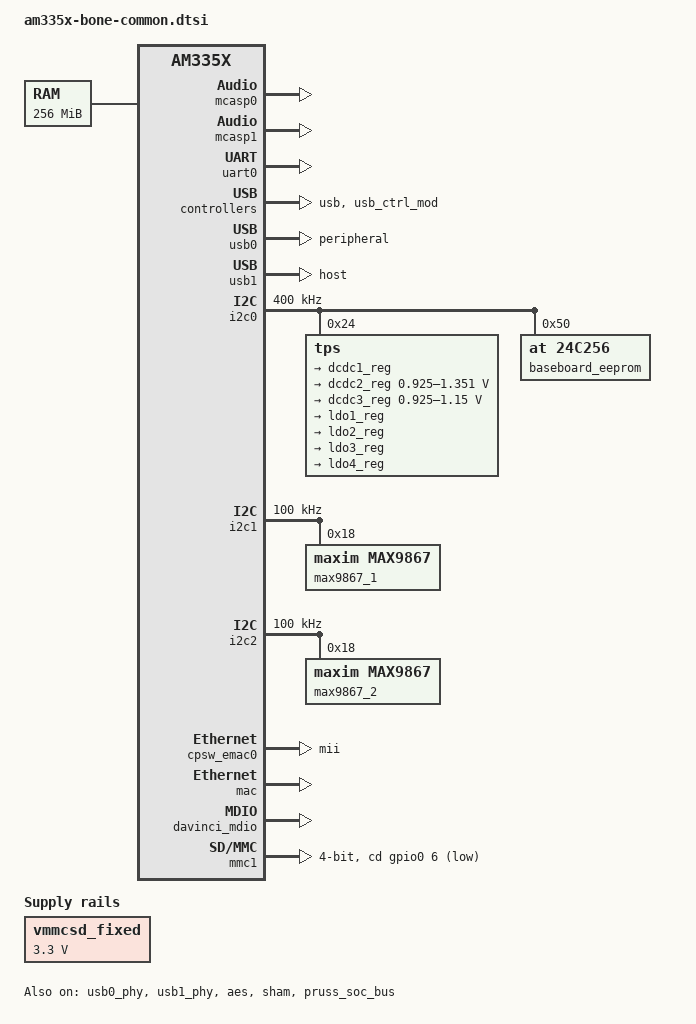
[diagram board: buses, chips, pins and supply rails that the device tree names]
/*
 * Copyright (C) 2012 Texas Instruments Incorporated - http://www.ti.com/
 *
 * This program is free software; you can redistribute it and/or modify
 * it under the terms of the GNU General Public License version 2 as
 * published by the Free Software Foundation.
 */

/ {
        cpus {
                cpu@0 {
                        cpu0-supply = <&dcdc2_reg>;
                };
        };

        memory@80000000 {
                device_type = "memory";
                reg = <0x80000000 0x10000000>; /* 256 MB */
        };

        chosen {
                stdout-path = &uart0;
        };

        //leds {
        //        pinctrl-names = "default";
        //        pinctrl-0 = <&user_leds_s0>;
        //
        //        compatible = "gpio-leds";
        //
        //        led2 { //USR0
        //                label = "beaglebone:green:heartbeat";
        //                gpios = <&gpio1 21 GPIO_ACTIVE_HIGH>;
        //                linux,default-trigger = "heartbeat";
        //                default-state = "off";
        //        };
        //
        //        led3 { //USR1
        //                label = "beaglebone:green:mmc0";
        //                gpios = <&gpio1 22 GPIO_ACTIVE_HIGH>;
        //                linux,default-trigger = "mmc0";
        //                default-state = "off";
        //        };
        //
        //        led4 { //USR2
        //                label = "beaglebone:green:usr2";
        //                gpios = <&gpio1 23 GPIO_ACTIVE_HIGH>;
        //                linux,default-trigger = "cpu0";
        //                default-state = "off";
        //        };
        //
        //        led5 { //USR3
        //                label = "beaglebone:green:usr3";
        //                gpios = <&gpio1 24 GPIO_ACTIVE_HIGH>;
        //                linux,default-trigger = "mmc1";
        //                default-state = "off";
        //        };
        //}; /* leds */

        vmmcsd_fixed: fixedregulator0 {
                compatible              = "regulator-fixed";
                regulator-name          = "vmmcsd_fixed";
                regulator-min-microvolt = <3300000>;
                regulator-max-microvolt = <3300000>;
        };
};

&am33xx_pinmux {
        pinctrl-names = "default";
        pinctrl-0 = <&clkout2_pin>;
        clkout2_pin: pinmux_clkout2_pin {
                pinctrl-single,pins = <
                        AM33XX_IOPAD(0x9b4, PIN_OUTPUT_PULLDOWN | MUX_MODE3)    /* xdma_event_intr1.clkout2 */
                >;
        };

        //user_leds_s0: user_leds_s0 {
        //        pinctrl-single,pins = <
        //                AM33XX_IOPAD(0x854, PIN_OUTPUT_PULLDOWN | MUX_MODE7)    /* gpmc_a5.gpio1_21 */
        //                AM33XX_IOPAD(0x858, PIN_OUTPUT_PULLUP | MUX_MODE7)      /* gpmc_a6.gpio1_22 */
        //                AM33XX_IOPAD(0x85c, PIN_OUTPUT_PULLDOWN | MUX_MODE7)    /* gpmc_a7.gpio1_23 */
        //                AM33XX_IOPAD(0x860, PIN_OUTPUT_PULLUP | MUX_MODE7)      /* gpmc_a8.gpio1_24 */
        //        >;
        //};
        
        
/* ---------------------------------------------------------------------------------------------- */
        i2c0_pins: pinmux_i2c0_pins {
                pinctrl-single,pins = <
                        AM33XX_IOPAD(0x988, PIN_INPUT_PULLUP | MUX_MODE0)       /* conf_i2c0_sda.i2c0_sda */
                        AM33XX_IOPAD(0x98c, PIN_INPUT_PULLUP | MUX_MODE0)       /* conf_i2c0_scl.i2c0_scl */
                >;
        }; /* i2c0_pins */
        
        i2c1_pins: pinmux_i2c1_pins {
                pinctrl-single,pins = <
                        AM33XX_IOPAD(0x958, PIN_INPUT_PULLUP | MUX_MODE2)       /* conf_spi0_d1.i2c1_sda */
                        AM33XX_IOPAD(0x95c, PIN_INPUT_PULLUP | MUX_MODE2)       /* conf_spi0_cs0.i2c1_scl */
                >;
        }; /* i2c1_pins */
        
        i2c2_pins: pinmux_i2c2_pins {
                pinctrl-single,pins = <
                        AM33XX_IOPAD(0x978, PIN_INPUT_PULLUP | MUX_MODE3)       /* conf_uart1_ctsn.i2c2_sda */
                        AM33XX_IOPAD(0x97C, PIN_INPUT_PULLUP | MUX_MODE3)       /* conf_uart1_rtsn.i2c2_scl */
                >;
        }; /* i2c2_pins */
/* ---------------------------------------------------------------------------------------------- */
        uart0_pins: pinmux_uart0_pins {
                pinctrl-single,pins = <
                        AM33XX_IOPAD(0x970, PIN_INPUT_PULLUP | MUX_MODE0)       /* uart0_rxd.uart0_rxd */
                        AM33XX_IOPAD(0x974, PIN_OUTPUT_PULLDOWN | MUX_MODE0)    /* uart0_txd.uart0_txd */
                >;
        }; 



        cpsw_default: cpsw_default {
                pinctrl-single,pins = <
                        /* Slave 1 */
                        AM33XX_IOPAD(0x910, PIN_INPUT_PULLUP | MUX_MODE0)       /* mii1_rxerr.mii1_rxerr */
                        AM33XX_IOPAD(0x914, PIN_OUTPUT_PULLDOWN | MUX_MODE0)    /* mii1_txen.mii1_txen */
                        AM33XX_IOPAD(0x918, PIN_INPUT_PULLUP | MUX_MODE0)       /* mii1_rxdv.mii1_rxdv */
                        AM33XX_IOPAD(0x91c, PIN_OUTPUT_PULLDOWN | MUX_MODE0)    /* mii1_txd3.mii1_txd3 */
                        AM33XX_IOPAD(0x920, PIN_OUTPUT_PULLDOWN | MUX_MODE0)    /* mii1_txd2.mii1_txd2 */
                        AM33XX_IOPAD(0x924, PIN_OUTPUT_PULLDOWN | MUX_MODE0)    /* mii1_txd1.mii1_txd1 */
                        AM33XX_IOPAD(0x928, PIN_OUTPUT_PULLDOWN | MUX_MODE0)    /* mii1_txd0.mii1_txd0 */
                        AM33XX_IOPAD(0x92c, PIN_INPUT_PULLUP | MUX_MODE0)       /* mii1_txclk.mii1_txclk */
                        AM33XX_IOPAD(0x930, PIN_INPUT_PULLUP | MUX_MODE0)       /* mii1_rxclk.mii1_rxclk */
                        AM33XX_IOPAD(0x934, PIN_INPUT_PULLUP | MUX_MODE0)       /* mii1_rxd3.mii1_rxd3 */
                        AM33XX_IOPAD(0x938, PIN_INPUT_PULLUP | MUX_MODE0)       /* mii1_rxd2.mii1_rxd2 */
                        AM33XX_IOPAD(0x93c, PIN_INPUT_PULLUP | MUX_MODE0)       /* mii1_rxd1.mii1_rxd1 */
                        AM33XX_IOPAD(0x940, PIN_INPUT_PULLUP | MUX_MODE0)       /* mii1_rxd0.mii1_rxd0 */
                >;
        };

        cpsw_sleep: cpsw_sleep {
                pinctrl-single,pins = <
                        /* Slave 1 reset value */
                        AM33XX_IOPAD(0x910, PIN_INPUT_PULLDOWN | MUX_MODE7)
                        AM33XX_IOPAD(0x914, PIN_INPUT_PULLDOWN | MUX_MODE7)
                        AM33XX_IOPAD(0x918, PIN_INPUT_PULLDOWN | MUX_MODE7)
                        AM33XX_IOPAD(0x91c, PIN_INPUT_PULLDOWN | MUX_MODE7)
                        AM33XX_IOPAD(0x920, PIN_INPUT_PULLDOWN | MUX_MODE7)
                        AM33XX_IOPAD(0x924, PIN_INPUT_PULLDOWN | MUX_MODE7)
                        AM33XX_IOPAD(0x928, PIN_INPUT_PULLDOWN | MUX_MODE7)
                        AM33XX_IOPAD(0x92c, PIN_INPUT_PULLDOWN | MUX_MODE7)
                        AM33XX_IOPAD(0x930, PIN_INPUT_PULLDOWN | MUX_MODE7)
                        AM33XX_IOPAD(0x934, PIN_INPUT_PULLDOWN | MUX_MODE7)
                        AM33XX_IOPAD(0x938, PIN_INPUT_PULLDOWN | MUX_MODE7)
                        AM33XX_IOPAD(0x93c, PIN_INPUT_PULLDOWN | MUX_MODE7)
                        AM33XX_IOPAD(0x940, PIN_INPUT_PULLDOWN | MUX_MODE7)
                >;
        };

        davinci_mdio_default: davinci_mdio_default {
                pinctrl-single,pins = <
                        /* MDIO */
                        AM33XX_IOPAD(0x948, PIN_INPUT_PULLUP | SLEWCTRL_FAST | MUX_MODE0)       /* mdio_data.mdio_data */
                        AM33XX_IOPAD(0x94c, PIN_OUTPUT_PULLUP | MUX_MODE0)                      /* mdio_clk.mdio_clk */
                >;
        };

        davinci_mdio_sleep: davinci_mdio_sleep {
                pinctrl-single,pins = <
                        /* MDIO reset value */
                        AM33XX_IOPAD(0x948, PIN_INPUT_PULLDOWN | MUX_MODE7)
                        AM33XX_IOPAD(0x94c, PIN_INPUT_PULLDOWN | MUX_MODE7)
                >;
        };

        mmc1_pins: pinmux_mmc1_pins {
                pinctrl-single,pins = <
                        AM33XX_IOPAD(0x960, PIN_INPUT | MUX_MODE7) /* GPIO0_6 */
                >;
        };

        emmc_pins: pinmux_emmc_pins {
                pinctrl-single,pins = <
                        AM33XX_IOPAD(0x880, PIN_INPUT_PULLUP | MUX_MODE2) /* gpmc_csn1.mmc1_clk */
                        AM33XX_IOPAD(0x884, PIN_INPUT_PULLUP | MUX_MODE2) /* gpmc_csn2.mmc1_cmd */
                        AM33XX_IOPAD(0x800, PIN_INPUT_PULLUP | MUX_MODE1) /* gpmc_ad0.mmc1_dat0 */
                        AM33XX_IOPAD(0x804, PIN_INPUT_PULLUP | MUX_MODE1) /* gpmc_ad1.mmc1_dat1 */
                        AM33XX_IOPAD(0x808, PIN_INPUT_PULLUP | MUX_MODE1) /* gpmc_ad2.mmc1_dat2 */
                        AM33XX_IOPAD(0x80c, PIN_INPUT_PULLUP | MUX_MODE1) /* gpmc_ad3.mmc1_dat3 */
                        AM33XX_IOPAD(0x810, PIN_INPUT_PULLUP | MUX_MODE1) /* gpmc_ad4.mmc1_dat4 */
                        AM33XX_IOPAD(0x814, PIN_INPUT_PULLUP | MUX_MODE1) /* gpmc_ad5.mmc1_dat5 */
                        AM33XX_IOPAD(0x818, PIN_INPUT_PULLUP | MUX_MODE1) /* gpmc_ad6.mmc1_dat6 */
                        AM33XX_IOPAD(0x81c, PIN_INPUT_PULLUP | MUX_MODE1) /* gpmc_ad7.mmc1_dat7 */
                >;
        };
        /*-------*/
        /* McASP */
        /*-------*/
        mcasp0_pins_default: mcasp0_pins_default {
                pinctrl-single,pins = <
                        AM33XX_IOPAD(0x8c0, PIN_INPUT | MUX_MODE3) /* (U1) lcd_data8    .mcasp0_aclkx  */
                        AM33XX_IOPAD(0x8c4, PIN_INPUT | MUX_MODE3) /* (U2) lcd_data9    .mcasp0_fsx    */
                        AM33XX_IOPAD(0x8c8, PIN_INPUT | MUX_MODE3) /* (U3) lcd_data10   .mcasp0_axr0   */
                        AM33XX_IOPAD(0x8d8, PIN_INPUT | MUX_MODE3) /* (V4) lcd_data14   .mcasp0_axr1   */
                >;
        }; /* mcasp0_pins_default */
        mcasp1_pins_default: mcasp1_pins_default {
                pinctrl-single,pins = <
                        AM33XX_IOPAD(0x9a0, PIN_INPUT | MUX_MODE3) /* (B12) mcasp0_aclkr    .mcasp1_aclkx  */
                        AM33XX_IOPAD(0x9a4, PIN_INPUT | MUX_MODE3) /* (C13) mcasp0_fsr      .mcasp1_fsx    */
                        AM33XX_IOPAD(0x9a8, PIN_INPUT | MUX_MODE3) /* (D13) mcasp0_axr1     .mcasp1_axr0   */
                        AM33XX_IOPAD(0x9ac, PIN_INPUT | MUX_MODE3) /* (A14) mcasp0_ahclkx   .mcasp0_axr1   */
                >;
        }; /* mcasp0_pins_default */
        
}; /* am33xx_pinmux */

&mcasp0 {
        clocks = <&mcasp0_fck>;
        clock-names = "mcasp0_fck";
        pinctrl-names = "default";
        pinctrl-0 = <&mcasp0_pins_default>;
        status = "okay";        
};
&mcasp1 {
        clocks = <&mcasp1_fck>;
        clock-names = "mcasp1_fck";
        pinctrl-names = "default";
        pinctrl-0 = <&mcasp1_pins_default>;
        status = "okay";
};

&uart0 {
        pinctrl-names = "default";
        pinctrl-0 = <&uart0_pins>;
        status = "okay";
};

&usb 
{
        status = "okay";
};
&usb_ctrl_mod 
{
        status = "okay";
};

&usb0_phy 
{
        status = "okay";
};
&usb1_phy 
{
        status = "okay";
};
&usb0 
{
        status = "okay";
        dr_mode = "peripheral";
};
&usb1 
{
        status = "okay";
        dr_mode = "host";
};

&cppi41dma  
{
        status = "okay";
};

&i2c0 {
    status = "okay";
    pinctrl-names = "default";
    pinctrl-0 = <&i2c0_pins>;
    clock-frequency = <400000>;
    tps: tps@24 {
            reg = <0x24>;
    };
    baseboard_eeprom: baseboard_eeprom@50 {
            compatible = "at,24c256";
            reg = <0x50>;
            #address-cells = <1>;
            #size-cells = <1>;
            baseboard_data: baseboard_data@0 {
                    reg = <0 0x100>;
            };
    }; /* baseboard_eeprom */
}; /* i2c0 */

&i2c1 {
    status = "okay";
    pinctrl-names = "default";
    pinctrl-0 = <&i2c1_pins>;
    clock-frequency = <100000>;
    max9867_1: max9867@18 {
        compatible = "maxim,max9867";
        reg = <0x18>;
    };
}; /* i2c1 */

&i2c2 {
    status = "okay";
    pinctrl-names = "default";
    pinctrl-0 = <&i2c2_pins>;
    clock-frequency = <100000>;
    max9867_2: max9867@18 {
        compatible = "maxim,max9867";
        reg = <0x18>;
    };
}; /* i2c2 */

/include/ "tps65217.dtsi"

&tps {
        /*
         * Configure pmic to enter OFF-state instead of SLEEP-state ("RTC-only
         * mode") at poweroff.  Most BeagleBone versions do not support RTC-only
         * mode and risk hardware damage if this mode is entered.
         *
         * For details, see linux-omap mailing list May 2015 thread
         *      [PATCH] ARM: dts: am335x-bone* enable pmic-shutdown-controller
         * In particular, messages:
         *      http://www.spinics.net/lists/linux-omap/msg118585.html
         *      http://www.spinics.net/lists/linux-omap/msg118615.html
         *
         * You can override this later with
         *      &tps {  /delete-property/ ti,pmic-shutdown-controller;  }
         * if you want to use RTC-only mode and made sure you are not affected
         * by the hardware problems. (Tip: double-check by performing a current
         * measurement after shutdown: it should be less than 1 mA.)
         */
        ti,pmic-shutdown-controller;

        regulators {
                dcdc1_reg: regulator@0 {
                        regulator-name = "vdds_dpr";
                        regulator-always-on;
                };

                dcdc2_reg: regulator@1 {
                        /* VDD_MPU voltage limits 0.95V - 1.26V with +/-4% tolerance */
                        regulator-name = "vdd_mpu";
                        regulator-min-microvolt = <925000>;
                        regulator-max-microvolt = <1351500>;
                        regulator-boot-on;
                        regulator-always-on;
                };

                dcdc3_reg: regulator@2 {
                        /* VDD_CORE voltage limits 0.95V - 1.1V with +/-4% tolerance */
                        regulator-name = "vdd_core";
                        regulator-min-microvolt = <925000>;
                        regulator-max-microvolt = <1150000>;
                        regulator-boot-on;
                        regulator-always-on;
                };

                ldo1_reg: regulator@3 {
                        regulator-name = "vio,vrtc,vdds";
                        regulator-always-on;
                };

                ldo2_reg: regulator@4 {
                        regulator-name = "vdd_3v3aux";
                        regulator-always-on;
                };

                ldo3_reg: regulator@5 {
                        regulator-name = "vdd_1v8";
                        regulator-always-on;
                };

                ldo4_reg: regulator@6 {
                        regulator-name = "vdd_3v3a";
                        regulator-always-on;
                };
        };
};

&cpsw_emac0 {
        phy_id = <&davinci_mdio>, <0>;
        phy-mode = "mii";
};

&mac {
        slaves = <1>;
        pinctrl-names = "default", "sleep";
        pinctrl-0 = <&cpsw_default>;
        pinctrl-1 = <&cpsw_sleep>;
        status = "okay";
};

&davinci_mdio {
        pinctrl-names = "default", "sleep";
        pinctrl-0 = <&davinci_mdio_default>;
        pinctrl-1 = <&davinci_mdio_sleep>;
        status = "okay";
};

&mmc1 {
        status = "okay";
        bus-width = <0x4>;
        pinctrl-names = "default";
        pinctrl-0 = <&mmc1_pins>;
        cd-gpios = <&gpio0 6 GPIO_ACTIVE_LOW>;
};

&aes {
        status = "okay";
};

&sham {
        status = "okay";
};

&rtc {
        clocks = <&clk_32768_ck>, <&clkdiv32k_ick>;
        clock-names = "ext-clk", "int-clk";
        system-power-controller;
};

&wkup_m3_ipc {
        ti,scale-data-fw = "am335x-bone-scale-data.bin";
};

&pruss_soc_bus {
        status = "okay";
        pruss: pruss@4a300000 {
                status = "okay";
                pru0: pru@4a334000 {
                        status = "okay";
                };
                pru1: pru@4a338000 {
                        status = "okay";
                };
        }; /* pruss */
}; /* pruss_soc_bus */
